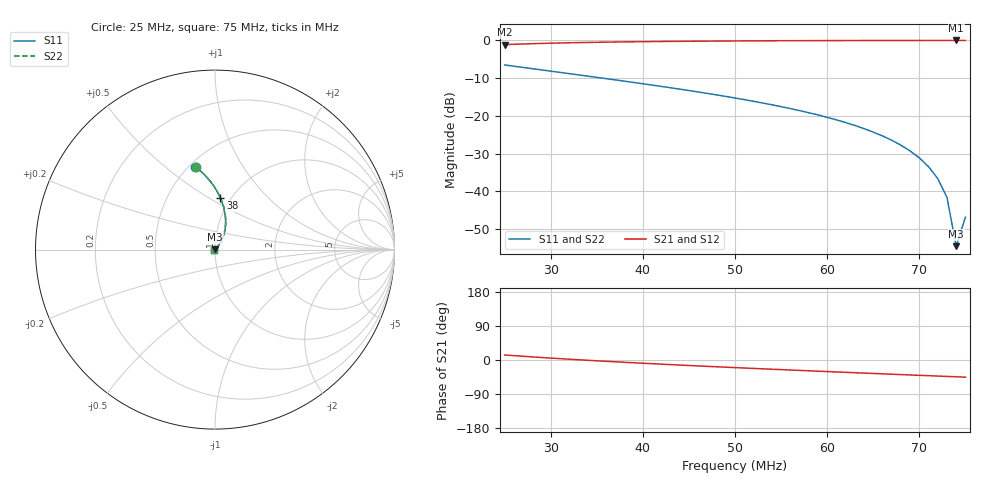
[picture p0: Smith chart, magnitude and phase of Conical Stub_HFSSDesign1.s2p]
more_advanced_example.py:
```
"""
Created on 23 Jun 2026

@author: frederic.durodie@gmail.com

+-------------+----------------------------------------------------------------+
| Date        | Comment                                                        |
+=============+================================================================+
| 23 Jun 2026 | Created                                                        |
+-------------+----------------------------------------------------------------+

in this example we explore the use of touchstone to complement the description
of a circuit 

"""

__updated__ = "2026-06-23 03:16:35"

import os
os.environ['OPENBLAS_NUM_THREADS']='{:d}'.format(2)

import matplotlib.pyplot as pl
import numpy as np

import sys
sys.path.insert(0,'/home/frederic/git/pyrftk/src')

from pyRFtk import rfCircuit, rfObject, rfTRL

import re

#===================================================================================================

def plotSij(circuit, fHzs, title = 'title'):
    pl.figure(title)
    SS = circuit.getS(fHzs)
    for c, (i,j) in {'r':(0,0),'m':(0,1),'c':(1,0),'b':(1,1)}.items():
        pl.plot(fHzs/1e6, SS[:,i,j].real,c,label = f'Re S$_{{{i+1},{j+1}}}$')
        pl.plot(fHzs/1e6, SS[:,i,j].imag,c+':',label = f'Im S$_{{{i+1},{j+1}}}$')
    pl.xlabel('frequency [MHz]')
    pl.title('Re and Im of S$_{ij}$')
    pl.suptitle(title)
    pl.ylim(top=1, bottom=-1)
    pl.legend(loc='best')
    pl.grid()
    pl.tight_layout()

#===================================================================================================

def readvar(s):
    # split off the units
    try:
        val, unit= re.findall('([+-]?[0-9]+[\.[0-9]*]?)([A-Za-z]+)', s)[0]
    except:
        raise ValueError(f'could not understand {s} as a value, unit pair')
    
    if unit in ['mm']:
        return float(val)/1000
    elif unit in ['m', 'ohm']:
        return float(val)
    else:
        return None

#===================================================================================================

# rfObject is an object that can read a touchtone file

# this is a 1m long conical stub: at the short circuit the Zc = 50 Ohm while at the T 
# the impedance is 20 Ohm.
# the legs of the T are 

Path2TSF = 'Conical Stub_HFSSDesign1.s2p'
obj = rfObject(touchstone=Path2TSF)

plotSij(obj, obj.fs, title = 'Touchstone Sij')

# Ansys HFSS writes the parameters used in the touchstone and we can access them
print(obj.variables)
print(obj)

# let's recreate this using pyRFtk

L = readvar(obj.variables['L'])
L2 = readvar(obj.variables['L2'])
OD = readvar(obj.variables['OD'])
ID1 = OD * np.exp(-readvar(obj.variables['Zsc'])/60)
ID2 = OD * np.exp(-readvar(obj.variables['Ztop'])/60)

print(L, L2, OD, ID1, ID2)

Zbase = readvar(obj.variables['Ztop'])
                
ct = rfCircuit(Zbase=Zbase)
ct.addblock('Cone', rfTRL(L=L, OD=OD, ID=[ID1, ID2]))
ct.addblock('Tee1', rfTRL(L=L2, OD=OD, ID=ID2))
ct.addblock('Tee2', rfTRL(L=L2, OD=OD, ID=ID2))
ct.connect('Cone.2', 'Tee1.1', 'Tee2.1')
ct.connect('Tee1.2', '2')
ct.connect('Tee2.2', '1')
ct.terminate('Cone.1', Z=0)

print(ct.asstr(-1))

fHzs = np.linspace(25e6, 75e6, 51)

plotSij(ct, fHzs, 'Circuit Sij')

pl.show()
```
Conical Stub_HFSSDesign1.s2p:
! Touchstone file exported from HFSS 2022.2.4
!  File:  /home/frederic/Ansoft/Conical Stub.aedt
!  Generated:  11:44:42 AM  Jun 23, 2026
!  Design:  HFSSDesign1
!  Project:  Conical Stub
!  Setup:  Setup1
!  Solution:  Sweep
! Variables:
!  L = 1000mm
!  L2 = 250mm
!  OD = 235mm
!  Zsc = 50ohm
!  Ztop = 20ohm
!Data is not renormalized
# GHz S MA R 19.968461
! Terminal data exported
! Port[1] = 1
! Port[2] = 2
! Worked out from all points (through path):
!   51 points, 25 MHz to 75 MHz, reference per port
!   highest |S21| = 0.00 dB at 74 MHz (marker M1); lowest = -1.1 dB at 25 MHz (marker M2)
!   lowest |S11| = -54.5 dB at 74 MHz (marker M3), VSWR 1.00
!   |S11| at or under -10 dB: 35.67 MHz to end of sweep
!   |S22| runs from -54.5 to -6.5 dB; largest |S21 - S12| = 6.3e-15
!   S11 on the Smith chart (normalised r, x): 25 MHz: 0.54, +0.64; 38 MHz: 0.90, +0.56; 75 MHz: 0.99, -0.01
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0.025  0.4736 103.3  0.8807 13.3  0.8807 13.3  0.4736 103.2
! Gamma 0 0.523961255488054 0 0.523961255487942
! Port Impedance 19.9684612517809 0 19.9694771395773 0
0.038  0.2889 84.0  0.9574 -6.0  0.9574 -6.0  0.2889 84.0
0.05  0.1728 70.0  0.9849 -20.1  0.9849 -20.1  0.1728 69.9
0.062  0.08175 57.5  0.9967 -32.5  0.9967 -32.5  0.08175 57.4
0.066  0.05436 53.5  0.9985 -36.5  0.9985 -36.5  0.05436 53.5
0.069  0.03441 50.5  0.9994 -39.5  0.9994 -39.5  0.03441 50.6
0.071  0.02131 48.5  0.9998 -41.4  0.9998 -41.4  0.02131 48.7
0.072  0.01481 47.5  0.9999 -42.4  0.9999 -42.4  0.01481 47.7
0.073  0.008334 46.4  1 -43.4  1 -43.4  0.008334 46.9
0.074  0.001882 44.4  1 -44.3  1 -44.3  0.001882 46.9
0.075  0.004553 -134.7  1 -45.3  1 -45.3  0.004553 -135.9
